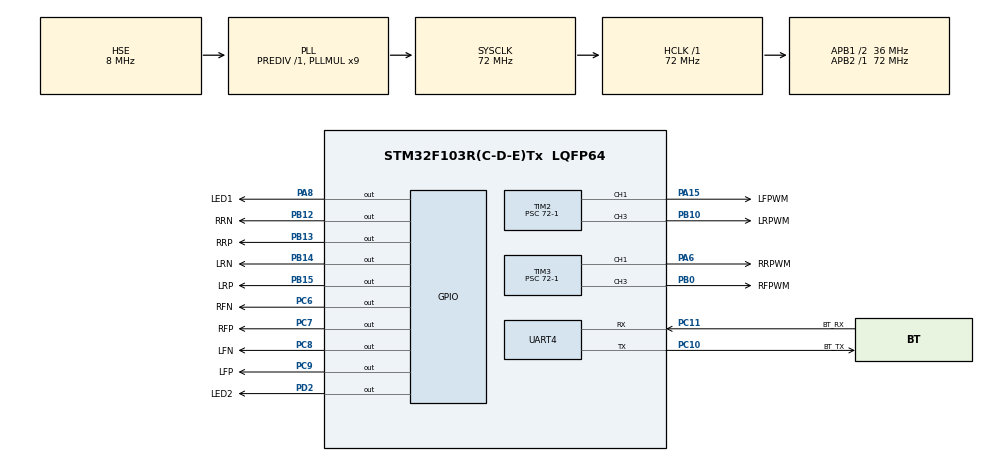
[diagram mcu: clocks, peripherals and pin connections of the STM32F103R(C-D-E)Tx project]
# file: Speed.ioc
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Mcu.Family=STM32F1
Mcu.Name=STM32F103R(C-D-E)Tx
Mcu.Package=LQFP64
NVIC.PriorityGroup=NVIC_PRIORITYGROUP_2
NVIC.UART4_IRQn=true\:0\:0\:false\:false\:true\:true\:true
PA15.GPIO_Label=LFPWM
PA15.Signal=S_TIM2_CH1_ETR
PA6.GPIO_Label=RRPWM
PA6.Signal=S_TIM3_CH1
PA8.GPIO_Label=LED1
PA8.Signal=GPIO_Output
PB0.GPIO_Label=RFPWM
PB0.Signal=S_TIM3_CH3
PB10.GPIO_Label=LRPWM
PB10.Signal=S_TIM2_CH3
PB12.GPIO_Label=RRN
PB12.Signal=GPIO_Output
PB13.GPIO_Label=RRP
PB13.Signal=GPIO_Output
PB14.GPIO_Label=LRN
PB14.Signal=GPIO_Output
PB15.GPIO_Label=LRP
PB15.Signal=GPIO_Output
PC10.GPIO_Label=BT_TX
PC10.Mode=Asynchronous
PC10.Signal=UART4_TX
PC11.GPIO_Label=BT_RX
PC11.Mode=Asynchronous
PC11.Signal=UART4_RX
PC6.GPIO_Label=RFN
PC6.GPIO_ModeDefaultOutputPP=GPIO_MODE_OUTPUT_PP
PC6.Signal=GPIO_Output
PC7.GPIO_Label=RFP
PC7.Signal=GPIO_Output
PC8.GPIO_Label=LFN
PC8.Signal=GPIO_Output
PC9.GPIO_Label=LFP
PC9.Signal=GPIO_Output
PD0-OSC_IN.Mode=HSE-External-Oscillator
PD0-OSC_IN.Signal=RCC_OSC_IN
PD1-OSC_OUT.Mode=HSE-External-Oscillator
PD1-OSC_OUT.Signal=RCC_OSC_OUT
PD2.GPIO_Label=LED2
PD2.Signal=GPIO_Output
ProjectManager.HeapSize=0x200
ProjectManager.StackSize=0x400
ProjectManager.TargetToolchain=MDK-ARM V5
RCC.AHBFreq_Value=72000000
RCC.APB1CLKDivider=RCC_HCLK_DIV2
RCC.APB1Freq_Value=36000000
RCC.APB1TimFreq_Value=72000000
RCC.APB2Freq_Value=72000000
RCC.APB2TimFreq_Value=72000000
RCC.HCLKFreq_Value=72000000
RCC.PLLMUL=RCC_PLL_MUL9
RCC.PLLSourceVirtual=RCC_PLLSOURCE_HSE
RCC.SYSCLKFreq_VALUE=72000000
RCC.SYSCLKSource=RCC_SYSCLKSOURCE_PLLCLK
RCC.USBFreq_Value=72000000
SH.S_TIM2_CH1_ETR.0=TIM2_CH1,PWM Generation1 CH1
SH.S_TIM2_CH3.0=TIM2_CH3,PWM Generation3 CH3
SH.S_TIM3_CH1.0=TIM3_CH1,PWM Generation1 CH1
SH.S_TIM3_CH3.0=TIM3_CH3,PWM Generation3 CH3
TIM2.Channel-PWM\ Generation1\ CH1=TIM_CHANNEL_1
TIM2.Channel-PWM\ Generation3\ CH3=TIM_CHANNEL_3
TIM2.OCMode_PWM-PWM\ Generation1\ CH1=TIM_OCMODE_PWM1
TIM2.OCPolarity_1=TIM_OCPOLARITY_HIGH
TIM2.OCPolarity_3=TIM_OCPOLARITY_HIGH
TIM2.Period=1000-1
TIM2.Prescaler=72-1
TIM3.Channel-PWM\ Generation1\ CH1=TIM_CHANNEL_1
TIM3.Channel-PWM\ Generation3\ CH3=TIM_CHANNEL_3
TIM3.Period=1000-1
TIM3.Prescaler=72-1
UART4.VirtualMode=Asynchronous
VP_SYS_VS_ND.Mode=No_Debug
board=custom

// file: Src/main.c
/* USER CODE BEGIN Header */
/**
  ******************************************************************************
  * @file           : main.c
  * @brief          : Main program body
  ******************************************************************************
  * @attention
  *
  * <h2><center>&copy; Copyright (c) 2019 STMicroelectronics.
  * All rights reserved.</center></h2>
  *
  * This software component is licensed by ST under BSD 3-Clause license,
  * the "License"; You may not use this file except in compliance with the
  * License. You may obtain a copy of the License at:
  *                        opensource.org/licenses/BSD-3-Clause
  *
  ******************************************************************************
  */
/* USER CODE END Header */

#include "main.h"
#include "tim.h"
#include "usart.h"
#include "gpio.h"

/* USER CODE BEGIN Includes */
#include "motor.h"
#include "stdio.h"
/* USER CODE END Includes */

/* USER CODE BEGIN PV */
uint8_t bt_buffer[10];
extern UART_HandleTypeDef huart4;
/* USER CODE END PV */

void SystemClock_Config(void);

int main(void)
{

  /* MCU Configuration--------------------------------------------------------*/

  /* Reset of all peripherals, Initializes the Flash interface and the Systick. */
  HAL_Init();

  /* Configure the system clock */
  SystemClock_Config();

  /* Initialize all configured peripherals */
  MX_GPIO_Init();
  MX_TIM2_Init();
  MX_TIM3_Init();
  MX_UART4_Init();
  /* USER CODE BEGIN 2 */
	HAL_UART_Receive_IT(&huart4, (uint8_t *)&bt_buffer, 2);
	HAL_TIM_Base_Start(&htim2);
	HAL_TIM_Base_Start(&htim3);
	HAL_TIM_PWM_Start(&htim3,TIM_CHANNEL_1); //RR
	HAL_TIM_PWM_Start(&htim3,TIM_CHANNEL_3); //RF
	HAL_TIM_PWM_Start(&htim2,TIM_CHANNEL_3); //LR
	HAL_TIM_PWM_Start(&htim2,TIM_CHANNEL_1);  //LF
	run_stright(1,8*100);
  /* USER CODE END 2 */

  /* Infinite loop */
  while (1)
  {

  }
}

void SystemClock_Config(void)
{
  RCC_OscInitTypeDef RCC_OscInitStruct = {0};
  RCC_ClkInitTypeDef RCC_ClkInitStruct = {0};

  /** Initializes the CPU, AHB and APB busses clocks
  */
  RCC_OscInitStruct.OscillatorType = RCC_OSCILLATORTYPE_HSE;
  RCC_OscInitStruct.HSEState = RCC_HSE_ON;
  RCC_OscInitStruct.HSEPredivValue = RCC_HSE_PREDIV_DIV1;
  RCC_OscInitStruct.HSIState = RCC_HSI_ON;
  RCC_OscInitStruct.PLL.PLLState = RCC_PLL_ON;
  RCC_OscInitStruct.PLL.PLLSource = RCC_PLLSOURCE_HSE;
  RCC_OscInitStruct.PLL.PLLMUL = RCC_PLL_MUL9;
  if (HAL_RCC_OscConfig(&RCC_OscInitStruct) != HAL_OK)
  {
    Error_Handler();
  }
  /** Initializes the CPU, AHB and APB busses clocks
  */
  RCC_ClkInitStruct.ClockType = RCC_CLOCKTYPE_HCLK|RCC_CLOCKTYPE_SYSCLK
                              |RCC_CLOCKTYPE_PCLK1|RCC_CLOCKTYPE_PCLK2;
  RCC_ClkInitStruct.SYSCLKSource = RCC_SYSCLKSOURCE_PLLCLK;
  RCC_ClkInitStruct.AHBCLKDivider = RCC_SYSCLK_DIV1;
  RCC_ClkInitStruct.APB1CLKDivider = RCC_HCLK_DIV2;
  RCC_ClkInitStruct.APB2CLKDivider = RCC_HCLK_DIV1;

  if (HAL_RCC_ClockConfig(&RCC_ClkInitStruct, FLASH_LATENCY_2) != HAL_OK)
  {
    Error_Handler();
  }
}

/* USER CODE BEGIN 4 */
void HAL_UART_RxCpltCallback(UART_HandleTypeDef *huart){
	/*
	if(bt_buffer[0]>2){
		turn_around(bt_buffer[0],bt_buffer[1]*100);
	}
	else{
		run_stright(bt_buffer[0],bt_buffer[1]*100);
	}*/
	if(bt_buffer[0]-48>2) turn_around(bt_buffer[0]-48,bt_buffer[1]-48);
	else run_stright(bt_buffer[0]-48,(bt_buffer[1]-48)*100);
	uint8_t test[]="got it";
	HAL_UART_Transmit(huart,test,sizeof(test),0xffff);
}
/* USER CODE END 4 */

/*
  * @brief  This function is executed in case of error occurrence.
  * @retval None
  */
void Error_Handler(void)
{
}

/************************ (C) COPYRIGHT STMicroelectronics *****END OF FILE****/
